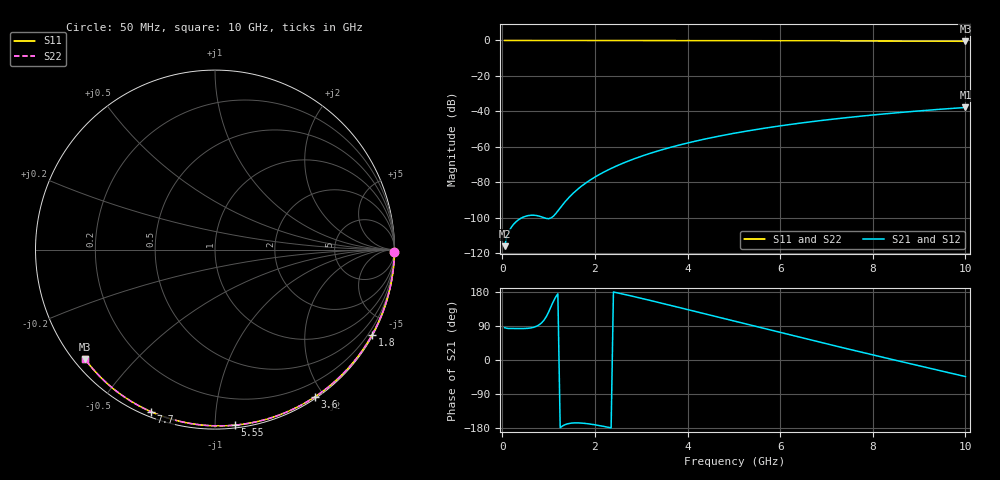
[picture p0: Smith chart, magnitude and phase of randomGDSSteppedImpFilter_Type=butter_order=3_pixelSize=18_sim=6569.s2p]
! freq	dB(S11)	phase(S11)	dB(S12)	phase(S12)
!  dB(S21)	phase(S21)	dB(S22)	phase(S22)
!S-par simulation data
#  GHz  S  DB  R 50
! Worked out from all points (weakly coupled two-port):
!   200 points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, 50 MHz to 10 GHz, reference 50 ohm
!   highest |S21| = -37.76 dB at 10 GHz (marker M1); lowest = -115.9 dB at 50 MHz (marker M2)
!   lowest |S11| = -0.5 dB at 10 GHz (marker M3), VSWR 36.72, Z = 1.54 - j18.3 ohm
!   |S11| at or under -10 dB: nowhere
!   |S22| runs from -0.5 to 0.0 dB; largest |S21 - S12| = 0
!   S11 on the Smith chart (normalised r, x): 50 MHz: open; 1.8 GHz: 0.03, -3.91; 3.6 GHz: 0.02, -1.88; 5.55 GHz: 0.02, -1.12; 7.7 GHz: 0.02, -0.68; 10 GHz: 0.03, -0.37
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0.05  -0.00 -0.8  -115.91 85.4  -115.91 85.4  -0.00 -0.8
0.45  -0.01 -7.3  -99.56 82.9  -99.56 82.9  -0.01 -7.3
0.9  -0.02 -14.5  -99.88 105.1  -99.88 105.1  -0.02 -14.5
1.75  -0.04 -27.9  -81.32 -166.9  -81.32 -166.9  -0.04 -27.9
1.8  -0.04 -28.7  -80.37 -167.5  -80.37 -167.5  -0.04 -28.7
1.85  -0.04 -29.4  -79.47 -168.3  -79.47 -168.3  -0.04 -29.4
2.05  -0.04 -32.5  -76.21 -172.0  -76.21 -172.0  -0.04 -32.5
2.2  -0.04 -34.9  -74.07 -175.5  -74.07 -175.5  -0.04 -34.9
2.55  -0.05 -40.2  -69.76 175.5  -69.76 175.5  -0.05 -40.2
2.95  -0.06 -46.3  -65.72 164.3  -65.72 164.3  -0.06 -46.3
3.4  -0.07 -53.0  -61.94 151.1  -61.94 151.1  -0.07 -53.0
3.6  -0.08 -56.0  -60.46 145.1  -60.46 145.1  -0.08 -56.0
3.9  -0.08 -60.3  -58.41 136.1  -58.41 136.1  -0.08 -60.3
4.3  -0.09 -66.1  -55.98 124.0  -55.98 124.0  -0.09 -66.1
5.05  -0.12 -76.6  -52.09 101.2  -52.09 101.2  -0.12 -76.6
5.55  -0.14 -83.5  -49.89 86.1  -49.89 86.1  -0.14 -83.5
6.1  -0.16 -90.9  -47.75 69.6  -47.75 69.6  -0.16 -90.8
6.7  -0.19 -98.7  -45.69 51.7  -45.69 51.7  -0.19 -98.7
7.7  -0.26 -111.5  -42.77 22.2  -42.77 22.2  -0.26 -111.4
8.35  -0.31 -119.6  -41.14 3.4  -41.14 3.4  -0.31 -119.5
9.2  -0.39 -130.0  -39.28 -21.0  -39.28 -21.0  -0.38 -130.0
10  -0.47 -139.8  -37.76 -43.7  -37.76 -43.7  -0.47 -139.8
